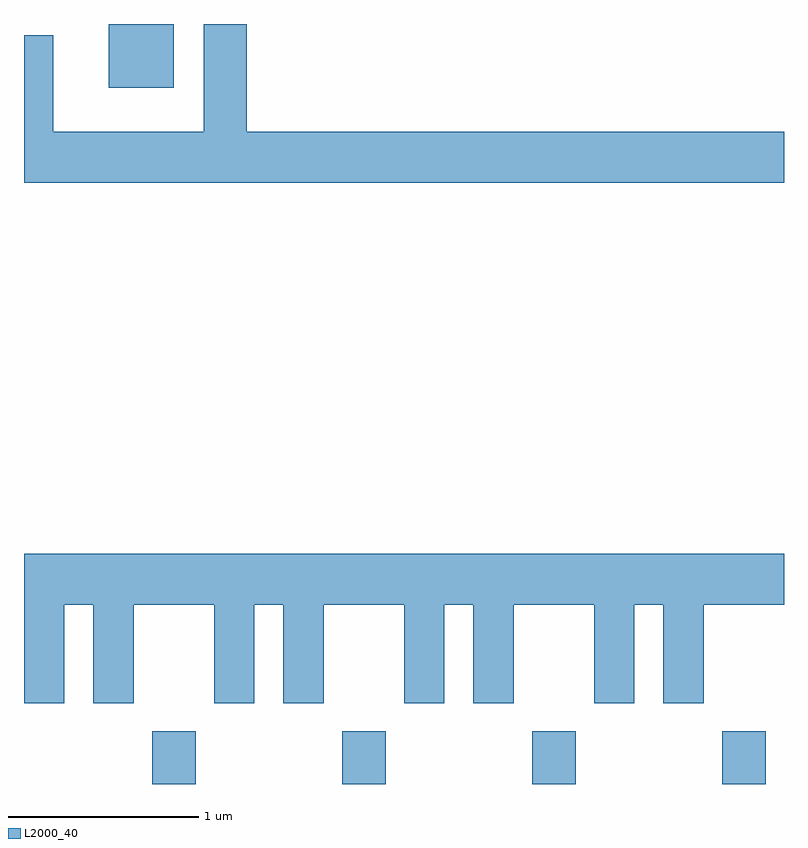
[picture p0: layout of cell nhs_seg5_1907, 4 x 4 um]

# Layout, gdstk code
import gdstk
lib = gdstk.Library(unit=1e-6, precision=1e-09)
def R(c, l, rs):  # rectangles x0, y0, x1, y1
    for r in rs: c.add(gdstk.rectangle(r[:2], r[2:], *l))
def A(c, l, x, y, w, h, nx, ny, dx, dy):  # array of equal rectangles
    R(c, l, [(x+i*dx, y+j*dy, x+i*dx+w, y+j*dy+h) for i in range(nx) for j in range(ny)])
def P(c, l, *ps):  # polygons
    for p in ps: c.add(gdstk.Polygon(p, *l))
L2000_40 = (2000, 40)

nhs_seg5_1907 = lib.new_cell('nhs_seg5_1907')
A(nhs_seg5_1907, L2000_40, 242.286, 1458.072, 0.228, 0.277, 4, 1, 1, 0)
R(nhs_seg5_1907, L2000_40, [(242.056,1461.736,242.399,1462.072)])
P(nhs_seg5_1907, L2000_40, [(245.611,1461.504),(242.784,1461.504),(242.784,1462.072),(242.556,1462.072),(242.556,1461.504),(241.764,1461.504),(241.764,1462.014),(241.611,1462.014),(241.611,1461.236),(245.611,1461.236)],
  [(241.824,1459.016),(241.976,1459.016),(241.976,1458.496),(242.189,1458.496),(242.189,1459.016),(242.611,1459.016),(242.611,1458.496),(242.824,1458.496),(242.824,1459.016),(242.976,1459.016),(242.976,1458.496),(243.189,1458.496),(243.189,1459.016),(243.611,1459.016),(243.611,1458.496),(243.824,1458.496),(243.824,1459.016),(243.976,1459.016),(243.976,1458.496),(244.189,1458.496),(244.189,1459.016),(244.611,1459.016),(244.611,1458.496),(244.824,1458.496),(244.824,1459.016),(244.976,1459.016),(244.976,1458.496),(245.189,1458.496),(245.189,1459.016),(245.611,1459.016),(245.611,1459.284),(241.611,1459.284),(241.611,1458.496),(241.824,1458.496)])

lib.write_gds('nhs_seg5_1907.gds')
